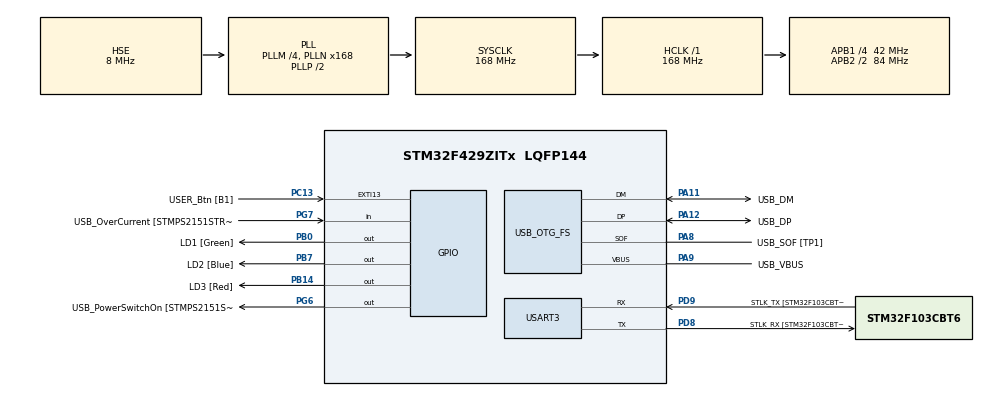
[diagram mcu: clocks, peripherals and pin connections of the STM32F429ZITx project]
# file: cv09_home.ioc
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Mcu.Family=STM32F4
Mcu.Name=STM32F429ZITx
Mcu.Package=LQFP144
NVIC.PriorityGroup=NVIC_PRIORITYGROUP_4
PA1.GPIO_Label=RMII_REF_CLK [LAN8742A-CZ-TR_REFCLK0]
PA1.Signal=ETH_REF_CLK
PA10.GPIO_Label=USB_ID
PA10.Signal=USB_OTG_FS_ID
PA11.GPIO_Label=USB_DM
PA11.Mode=Device_Only
PA11.Signal=USB_OTG_FS_DM
PA12.GPIO_Label=USB_DP
PA12.Mode=Device_Only
PA12.Signal=USB_OTG_FS_DP
PA13.GPIO_Label=TMS
PA13.Mode=Serial_Wire
PA13.Signal=SYS_JTMS-SWDIO
PA14.GPIO_Label=TCK
PA14.Mode=Serial_Wire
PA14.Signal=SYS_JTCK-SWCLK
PA2.GPIO_Label=RMII_MDIO [LAN8742A-CZ-TR_MDIO]
PA2.Signal=ETH_MDIO
PA7.GPIO_Label=RMII_CRS_DV [LAN8742A-CZ-TR_CRS_DV]
PA7.Signal=ETH_CRS_DV
PA8.GPIO_Label=USB_SOF [TP1]
PA8.Mode=Activate_SOF_FS
PA8.Signal=USB_OTG_FS_SOF
PA9.GPIO_Label=USB_VBUS
PA9.Mode=Activate_VBUS
PA9.Signal=USB_OTG_FS_VBUS
PB0.GPIO_Label=LD1 [Green]
PB0.Signal=GPIO_Output
PB13.GPIO_Label=RMII_TXD1 [LAN8742A-CZ-TR_TXD1]
PB13.Signal=ETH_TXD1
PB14.GPIO_Label=LD3 [Red]
PB14.Signal=GPIO_Output
PB7.GPIO_Label=LD2 [Blue]
PB7.Signal=GPIO_Output
PC1.GPIO_Label=RMII_MDC [LAN8742A-CZ-TR_MDC]
PC1.Signal=ETH_MDC
PC13.GPIO_Label=USER_Btn [B1]
PC13.Signal=GPXTI13
PC14/OSC32_IN.Mode=LSE-External-Oscillator
PC14/OSC32_IN.Signal=RCC_OSC32_IN
PC15/OSC32_OUT.Mode=LSE-External-Oscillator
PC15/OSC32_OUT.Signal=RCC_OSC32_OUT
PC4.GPIO_Label=RMII_RXD0 [LAN8742A-CZ-TR_RXD0]
PC4.Signal=ETH_RXD0
PC5.GPIO_Label=RMII_RXD1 [LAN8742A-CZ-TR_RXD1]
PC5.Signal=ETH_RXD1
PD8.GPIO_Label=STLK_RX [STM32F103CBT6_PA3]
PD8.Mode=Asynchronous
PD8.Signal=USART3_TX
PD9.GPIO_Label=STLK_TX [STM32F103CBT6_PA2]
PD9.Mode=Asynchronous
PD9.Signal=USART3_RX
PG11.GPIO_Label=RMII_TX_EN [LAN8742A-CZ-TR_TXEN]
PG11.Signal=ETH_TX_EN
PG13.GPIO_Label=RMII_TXD0 [LAN8742A-CZ-TR_TXD0]
PG13.Signal=ETH_TXD0
PG6.GPIO_Label=USB_PowerSwitchOn [STMPS2151STR_EN]
PG6.Signal=GPIO_Output
PG7.GPIO_Label=USB_OverCurrent [STMPS2151STR_FAULT]
PG7.Signal=GPIO_Input
PH0/OSC_IN.GPIO_Label=MCO [STM32F103CBT6_PA8]
PH0/OSC_IN.Mode=HSE-External-Clock-Source
PH0/OSC_IN.Signal=RCC_OSC_IN
PH1/OSC_OUT.Mode=HSE-External-Clock-Source
PH1/OSC_OUT.Signal=RCC_OSC_OUT
ProjectManager.HeapSize=0x200
ProjectManager.StackSize=0x400
ProjectManager.TargetToolchain=STM32CubeIDE
RCC.48MHZClocksFreq_Value=48000000
RCC.AHBFreq_Value=168000000
RCC.APB1CLKDivider=RCC_HCLK_DIV4
RCC.APB1Freq_Value=42000000
RCC.APB1TimFreq_Value=84000000
RCC.APB2CLKDivider=RCC_HCLK_DIV2
RCC.APB2Freq_Value=84000000
RCC.APB2TimCLKDivider=2
RCC.APB2TimFreq_Value=168000000
RCC.CortexFreq_Value=168000000
RCC.HCLKFreq_Value=168000000
RCC.HSE_VALUE=8000000
RCC.HSI_VALUE=16000000
RCC.PLLM=4
RCC.PLLMUL=RCC_PLL_MUL9
RCC.PLLN=168
RCC.PLLQ=7
RCC.PRESCALERUSB=RCC_USBCLKSOURCE_PLL_DIV1_5
RCC.SYSCLKFreq_VALUE=168000000
RCC.SYSCLKSource=RCC_SYSCLKSOURCE_PLLCLK
RCC.SYSCLKSourceVirtual=RCC_SYSCLKSOURCE_PLLCLK
RCC.USBFreq_Value=48000000
RCC.VCOOutputFreq_Value=336000000
USART3.VirtualMode=VM_ASYNC
USB_DEVICE.CLASS_NAME_FS=HID
USB_DEVICE.VirtualMode-HID_FS=Hid
USB_DEVICE.VirtualModeFS=Hid_FS
USB_OTG_FS.VirtualMode=Device_Only
VP_USB_DEVICE_VS_USB_DEVICE_HID_FS.Mode=HID_FS
board=NUCLEO-F429ZI

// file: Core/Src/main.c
/* USER CODE BEGIN Header */
/**
  ******************************************************************************
  * @file           : main.c
  * @brief          : Main program body
  ******************************************************************************
  * @attention
  *
  * <h2><center>&copy; Copyright (c) 2020 STMicroelectronics.
  * All rights reserved.</center></h2>
  *
  * This software component is licensed by ST under BSD 3-Clause license,
  * the "License"; You may not use this file except in compliance with the
  * License. You may obtain a copy of the License at:
  *                        opensource.org/licenses/BSD-3-Clause
  *
  ******************************************************************************
  */
/* USER CODE END Header */

#include "main.h"
#include "usb_device.h"

/* USER CODE BEGIN Includes */
#include  "usbd_hid.h"
#include  <math.h>
#include <stdbool.h>
/* USER CODE END Includes */

/* USER CODE BEGIN PD */
#define PI 3.14159
/* USER CODE END PD */

UART_HandleTypeDef huart3;

void SystemClock_Config(void);
static void MX_GPIO_Init(void);
static void MX_USART3_UART_Init(void);

/* USER CODE BEGIN 0 */
extern USBD_HandleTypeDef hUsbDeviceFS;

void step (int16_t x, int16_t y)
{
	uint8_t buff[4];
	buff[0] = 0x01; // stiskni leve tlacitko
	buff[1] = x; // posun X +10
	buff[2] = y; // posun Y -3
	buff[3] = 0; // bez scrollu

	USBD_HID_SendReport(&hUsbDeviceFS, buff, sizeof(buff));
	HAL_Delay(USBD_HID_GetPollingInterval(&hUsbDeviceFS));
}

void circle (int16_t r)
{
	int16_t x;
	int16_t y;

	float phi = 0.0;
	float phi_step = 0.1;

	while (phi < 2*PI)
	{
		x = r * cos (phi);
		y = r * sin (phi);

		phi = phi + phi_step;
		step (x, y);
	}
}

void mouth (int16_t r)
{
	int16_t x;
	int16_t y;

	float phi = 0.0;
	float phi_step = 0.1;

	while (phi < PI)
	{
		x = r * cos (phi + PI);
		y = r * sin (phi + PI);

		phi = phi + phi_step;
		step (x, y);
	}
}

void nose (void)
{
	int16_t x = 0;
	int16_t y;

	while (y < 5)
	{
		y += 1;
		step (x, y);
	}
}

static void face (void)
{
	step (0, 0);
	circle (30); // head
	step (-10, 10);
	circle (5); // yey
	step (10, 10);
	circle(5); // yey
	step(0, 0);
	mouth(15);
	step(0, 5);
	nose();

	HAL_Delay(1000);

}
/* USER CODE END 0 */

int main(void)
{

  /* MCU Configuration--------------------------------------------------------*/

  /* Reset of all peripherals, Initializes the Flash interface and the Systick. */
  HAL_Init();

  /* Configure the system clock */
  SystemClock_Config();

  /* Initialize all configured peripherals */
  MX_GPIO_Init();
  MX_USART3_UART_Init();
  MX_USB_DEVICE_Init();

  /* Infinite loop */
  /* USER CODE BEGIN WHILE */
  while (1)
  {
	  face ();
    /* USER CODE END WHILE */

  }
}

void SystemClock_Config(void)
{
  RCC_OscInitTypeDef RCC_OscInitStruct = {0};
  RCC_ClkInitTypeDef RCC_ClkInitStruct = {0};

  /** Configure the main internal regulator output voltage
  */
  __HAL_RCC_PWR_CLK_ENABLE();
  __HAL_PWR_VOLTAGESCALING_CONFIG(PWR_REGULATOR_VOLTAGE_SCALE1);
  /** Initializes the CPU, AHB and APB busses clocks
  */
  RCC_OscInitStruct.OscillatorType = RCC_OSCILLATORTYPE_HSE;
  RCC_OscInitStruct.HSEState = RCC_HSE_BYPASS;
  RCC_OscInitStruct.PLL.PLLState = RCC_PLL_ON;
  RCC_OscInitStruct.PLL.PLLSource = RCC_PLLSOURCE_HSE;
  RCC_OscInitStruct.PLL.PLLM = 4;
  RCC_OscInitStruct.PLL.PLLN = 168;
  RCC_OscInitStruct.PLL.PLLP = RCC_PLLP_DIV2;
  RCC_OscInitStruct.PLL.PLLQ = 7;
  if (HAL_RCC_OscConfig(&RCC_OscInitStruct) != HAL_OK)
  {
    Error_Handler();
  }
  /** Initializes the CPU, AHB and APB busses clocks
  */
  RCC_ClkInitStruct.ClockType = RCC_CLOCKTYPE_HCLK|RCC_CLOCKTYPE_SYSCLK
                              |RCC_CLOCKTYPE_PCLK1|RCC_CLOCKTYPE_PCLK2;
  RCC_ClkInitStruct.SYSCLKSource = RCC_SYSCLKSOURCE_PLLCLK;
  RCC_ClkInitStruct.AHBCLKDivider = RCC_SYSCLK_DIV1;
  RCC_ClkInitStruct.APB1CLKDivider = RCC_HCLK_DIV4;
  RCC_ClkInitStruct.APB2CLKDivider = RCC_HCLK_DIV2;

  if (HAL_RCC_ClockConfig(&RCC_ClkInitStruct, FLASH_LATENCY_5) != HAL_OK)
  {
    Error_Handler();
  }
}

static void MX_USART3_UART_Init(void)
{

  huart3.Instance = USART3;
  huart3.Init.BaudRate = 115200;
  huart3.Init.WordLength = UART_WORDLENGTH_8B;
  huart3.Init.StopBits = UART_STOPBITS_1;
  huart3.Init.Parity = UART_PARITY_NONE;
  huart3.Init.Mode = UART_MODE_TX_RX;
  huart3.Init.HwFlowCtl = UART_HWCONTROL_NONE;
  huart3.Init.OverSampling = UART_OVERSAMPLING_16;
  if (HAL_UART_Init(&huart3) != HAL_OK)
  {
    Error_Handler();
  }

}

static void MX_GPIO_Init(void)
{
  GPIO_InitTypeDef GPIO_InitStruct = {0};

  /* GPIO Ports Clock Enable */
  __HAL_RCC_GPIOC_CLK_ENABLE();
  __HAL_RCC_GPIOH_CLK_ENABLE();
  __HAL_RCC_GPIOA_CLK_ENABLE();
  __HAL_RCC_GPIOB_CLK_ENABLE();
  __HAL_RCC_GPIOD_CLK_ENABLE();
  __HAL_RCC_GPIOG_CLK_ENABLE();

  /*Configure GPIO pin Output Level */
  HAL_GPIO_WritePin(GPIOB, LD1_Pin|LD3_Pin|LD2_Pin, GPIO_PIN_RESET);

  /*Configure GPIO pin Output Level */
  HAL_GPIO_WritePin(USB_PowerSwitchOn_GPIO_Port, USB_PowerSwitchOn_Pin, GPIO_PIN_RESET);

  /*Configure GPIO pin : USER_Btn_Pin */
  GPIO_InitStruct.Pin = USER_Btn_Pin;
  GPIO_InitStruct.Mode = GPIO_MODE_IT_RISING;
  GPIO_InitStruct.Pull = GPIO_NOPULL;
  HAL_GPIO_Init(USER_Btn_GPIO_Port, &GPIO_InitStruct);

  /*Configure GPIO pins : RMII_MDC_Pin RMII_RXD0_Pin RMII_RXD1_Pin */
  GPIO_InitStruct.Pin = RMII_MDC_Pin|RMII_RXD0_Pin|RMII_RXD1_Pin;
  GPIO_InitStruct.Mode = GPIO_MODE_AF_PP;
  GPIO_InitStruct.Pull = GPIO_NOPULL;
  GPIO_InitStruct.Speed = GPIO_SPEED_FREQ_VERY_HIGH;
  GPIO_InitStruct.Alternate = GPIO_AF11_ETH;
  HAL_GPIO_Init(GPIOC, &GPIO_InitStruct);

  /*Configure GPIO pins : RMII_REF_CLK_Pin RMII_MDIO_Pin RMII_CRS_DV_Pin */
  GPIO_InitStruct.Pin = RMII_REF_CLK_Pin|RMII_MDIO_Pin|RMII_CRS_DV_Pin;
  GPIO_InitStruct.Mode = GPIO_MODE_AF_PP;
  GPIO_InitStruct.Pull = GPIO_NOPULL;
  GPIO_InitStruct.Speed = GPIO_SPEED_FREQ_VERY_HIGH;
  GPIO_InitStruct.Alternate = GPIO_AF11_ETH;
  HAL_GPIO_Init(GPIOA, &GPIO_InitStruct);

  /*Configure GPIO pins : LD1_Pin LD3_Pin LD2_Pin */
  GPIO_InitStruct.Pin = LD1_Pin|LD3_Pin|LD2_Pin;
  GPIO_InitStruct.Mode = GPIO_MODE_OUTPUT_PP;
  GPIO_InitStruct.Pull = GPIO_NOPULL;
  GPIO_InitStruct.Speed = GPIO_SPEED_FREQ_LOW;
  HAL_GPIO_Init(GPIOB, &GPIO_InitStruct);

  /*Configure GPIO pin : RMII_TXD1_Pin */
  GPIO_InitStruct.Pin = RMII_TXD1_Pin;
  GPIO_InitStruct.Mode = GPIO_MODE_AF_PP;
  GPIO_InitStruct.Pull = GPIO_NOPULL;
  GPIO_InitStruct.Speed = GPIO_SPEED_FREQ_VERY_HIGH;
  GPIO_InitStruct.Alternate = GPIO_AF11_ETH;
  HAL_GPIO_Init(RMII_TXD1_GPIO_Port, &GPIO_InitStruct);

  /*Configure GPIO pin : USB_PowerSwitchOn_Pin */
  GPIO_InitStruct.Pin = USB_PowerSwitchOn_Pin;
  GPIO_InitStruct.Mode = GPIO_MODE_OUTPUT_PP;
  GPIO_InitStruct.Pull = GPIO_NOPULL;
  GPIO_InitStruct.Speed = GPIO_SPEED_FREQ_LOW;
  HAL_GPIO_Init(USB_PowerSwitchOn_GPIO_Port, &GPIO_InitStruct);

  /*Configure GPIO pin : USB_OverCurrent_Pin */
  GPIO_InitStruct.Pin = USB_OverCurrent_Pin;
  GPIO_InitStruct.Mode = GPIO_MODE_INPUT;
  GPIO_InitStruct.Pull = GPIO_NOPULL;
  HAL_GPIO_Init(USB_OverCurrent_GPIO_Port, &GPIO_InitStruct);

  /*Configure GPIO pins : RMII_TX_EN_Pin RMII_TXD0_Pin */
  GPIO_InitStruct.Pin = RMII_TX_EN_Pin|RMII_TXD0_Pin;
  GPIO_InitStruct.Mode = GPIO_MODE_AF_PP;
  GPIO_InitStruct.Pull = GPIO_NOPULL;
  GPIO_InitStruct.Speed = GPIO_SPEED_FREQ_VERY_HIGH;
  GPIO_InitStruct.Alternate = GPIO_AF11_ETH;
  HAL_GPIO_Init(GPIOG, &GPIO_InitStruct);

}

void Error_Handler(void)
{
}

/************************ (C) COPYRIGHT STMicroelectronics *****END OF FILE****/
